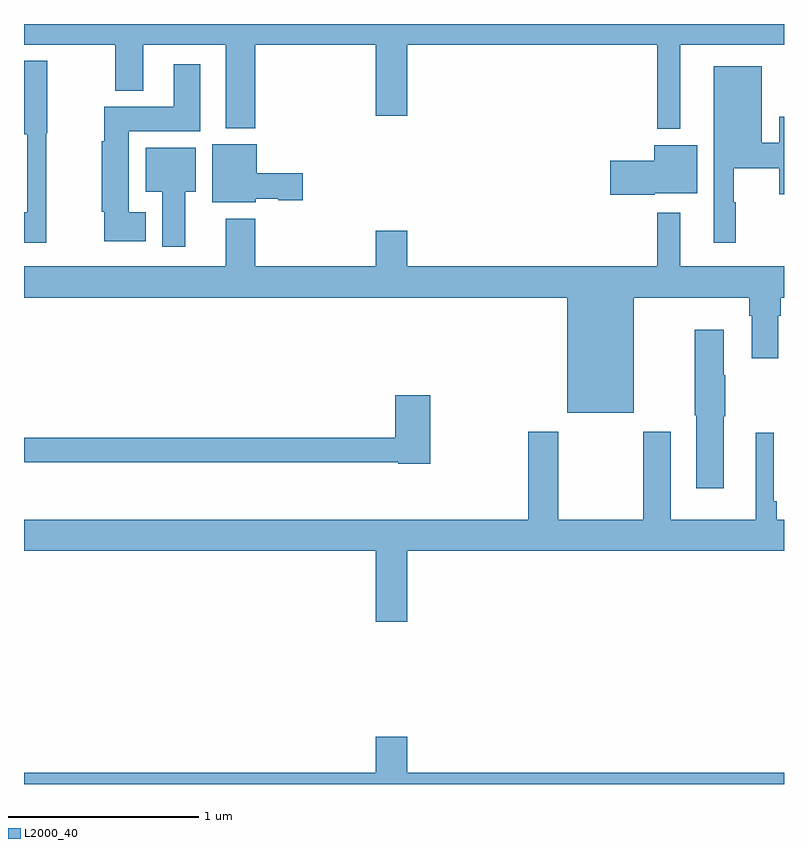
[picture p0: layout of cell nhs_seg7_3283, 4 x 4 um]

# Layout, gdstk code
import gdstk
lib = gdstk.Library(unit=1e-6, precision=1e-09)
def P(c, l, *ps):  # polygons
    for p in ps: c.add(gdstk.Polygon(p, *l))
L2000_40 = (2000, 40)

nhs_seg7_3283 = lib.new_cell('nhs_seg7_3283')
P(nhs_seg7_3283, L2000_40, [(322.453,1057.892),(323,1057.892),(323,1058),(319,1058),(319,1057.892),(319.48,1057.892),(319.48,1057.649),(319.627,1057.649),(319.627,1057.892),(320.063,1057.892),(320.063,1057.451),(320.216,1057.451),(320.216,1057.892),(320.852,1057.892),(320.852,1057.518),(321.016,1057.518),(321.016,1057.892),(322.332,1057.892),(322.332,1057.448),(322.453,1057.448)],
  [(319.118,1057.425),(319.122,1057.425),(319.122,1057.807),(319,1057.807),(319,1057.421),(319.017,1057.421),(319.017,1057.009),(319,1057.009),(319,1056.849),(319.118,1056.849)],
  [(319.642,1057.009),(319.552,1057.009),(319.552,1057.436),(319.927,1057.436),(319.927,1057.789),(319.787,1057.789),(319.787,1057.564),(319.423,1057.564),(319.423,1057.383),(319.409,1057.383),(319.409,1057.011),(319.423,1057.011),(319.423,1056.857),(319.642,1056.857)],
  [(322.745,1057.062),(322.735,1057.062),(322.735,1057.24),(322.976,1057.24),(322.976,1057.103),(323,1057.103),(323,1057.513),(322.976,1057.513),(322.976,1057.376),(322.882,1057.376),(322.882,1057.777),(322.631,1057.777),(322.631,1056.849),(322.745,1056.849)],
  [(320.22,1057.079),(320.337,1057.079),(320.337,1057.072),(320.467,1057.072),(320.467,1057.214),(320.224,1057.214),(320.224,1057.366),(319.991,1057.366),(319.991,1057.061),(320.22,1057.061)],
  [(322.32,1057.109),(322.543,1057.109),(322.543,1057.363),(322.316,1057.363),(322.316,1057.28),(322.086,1057.28),(322.086,1057.102),(322.32,1057.102)],
  [(319.849,1057.118),(319.903,1057.118),(319.903,1057.348),(319.64,1057.348),(319.64,1057.118),(319.727,1057.118),(319.727,1056.828),(319.849,1056.828)],
  [(322.21,1056.56),(322.817,1056.56),(322.817,1056.464),(322.829,1056.464),(322.829,1056.24),(322.969,1056.24),(322.969,1056.464),(322.982,1056.464),(322.982,1056.56),(323,1056.56),(323,1056.724),(322.453,1056.724),(322.453,1057.006),(322.332,1057.006),(322.332,1056.724),(321.016,1056.724),(321.016,1056.913),(320.852,1056.913),(320.852,1056.724),(320.216,1056.724),(320.216,1056.976),(320.063,1056.976),(320.063,1056.724),(319,1056.724),(319,1056.56),(321.86,1056.56),(321.86,1055.954),(322.21,1055.954)],
  [(322.684,1055.935),(322.692,1055.935),(322.692,1056.152),(322.684,1056.152),(322.684,1056.391),(322.531,1056.391),(322.531,1055.941),(322.538,1055.941),(322.538,1055.556),(322.684,1055.556)],
  [(321.137,1056.046),(320.954,1056.046),(320.954,1055.822),(319,1055.822),(319,1055.694),(320.97,1055.694),(320.97,1055.686),(321.137,1055.686)],
  [(321.016,1055.228),(323,1055.228),(323,1055.392),(322.961,1055.392),(322.961,1055.488),(322.947,1055.488),(322.947,1055.848),(322.85,1055.848),(322.85,1055.392),(322.405,1055.392),(322.405,1055.854),(322.258,1055.854),(322.258,1055.392),(321.813,1055.392),(321.813,1055.854),(321.653,1055.854),(321.653,1055.392),(319,1055.392),(319,1055.228),(320.852,1055.228),(320.852,1054.854),(321.016,1054.854)],
  [(319,1054),(323,1054),(323,1054.06),(321.016,1054.06),(321.016,1054.249),(320.852,1054.249),(320.852,1054.06),(319,1054.06)])

lib.write_gds('nhs_seg7_3283.gds')
